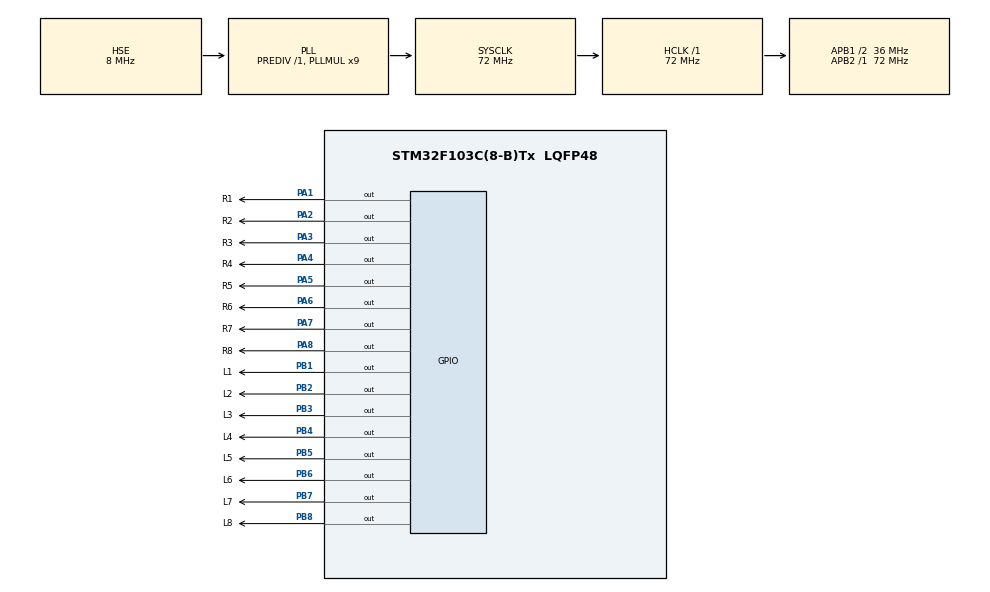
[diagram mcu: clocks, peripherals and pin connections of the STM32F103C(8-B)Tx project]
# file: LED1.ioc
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Mcu.Family=STM32F1
Mcu.Name=STM32F103C(8-B)Tx
Mcu.Package=LQFP48
NVIC.PriorityGroup=NVIC_PRIORITYGROUP_4
PA1.GPIO_Label=R1
PA1.Signal=GPIO_Output
PA2.GPIO_Label=R2
PA2.Signal=GPIO_Output
PA3.GPIO_Label=R3
PA3.Signal=GPIO_Output
PA4.GPIO_Label=R4
PA4.Signal=GPIO_Output
PA5.GPIO_Label=R5
PA5.Signal=GPIO_Output
PA6.GPIO_Label=R6
PA6.Signal=GPIO_Output
PA7.GPIO_Label=R7
PA7.Signal=GPIO_Output
PA8.GPIO_Label=R8
PA8.Signal=GPIO_Output
PB1.GPIO_Label=L1
PB1.Signal=GPIO_Output
PB2.GPIO_Label=L2
PB2.Signal=GPIO_Output
PB3.GPIO_Label=L3
PB3.Signal=GPIO_Output
PB4.GPIO_Label=L4
PB4.Signal=GPIO_Output
PB5.GPIO_Label=L5
PB5.Signal=GPIO_Output
PB6.GPIO_Label=L6
PB6.Signal=GPIO_Output
PB7.GPIO_Label=L7
PB7.Signal=GPIO_Output
PB8.GPIO_Label=L8
PB8.Signal=GPIO_Output
PC14-OSC32_IN.Mode=LSE-External-Oscillator
PC14-OSC32_IN.Signal=RCC_OSC32_IN
PC15-OSC32_OUT.Mode=LSE-External-Oscillator
PC15-OSC32_OUT.Signal=RCC_OSC32_OUT
PD0-OSC_IN.Mode=HSE-External-Oscillator
PD0-OSC_IN.Signal=RCC_OSC_IN
PD1-OSC_OUT.Mode=HSE-External-Oscillator
PD1-OSC_OUT.Signal=RCC_OSC_OUT
ProjectManager.HeapSize=0x200
ProjectManager.StackSize=0x400
ProjectManager.TargetToolchain=MDK-ARM V5.32
RCC.AHBFreq_Value=72000000
RCC.APB1CLKDivider=RCC_HCLK_DIV2
RCC.APB1Freq_Value=36000000
RCC.APB1TimFreq_Value=72000000
RCC.APB2Freq_Value=72000000
RCC.APB2TimFreq_Value=72000000
RCC.HCLKFreq_Value=72000000
RCC.PLLMUL=RCC_PLL_MUL9
RCC.PLLSourceVirtual=RCC_PLLSOURCE_HSE
RCC.SYSCLKFreq_VALUE=72000000
RCC.SYSCLKSource=RCC_SYSCLKSOURCE_PLLCLK
RCC.USBFreq_Value=72000000
VP_SYS_VS_ND.Mode=No_Debug
board=custom

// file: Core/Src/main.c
/* USER CODE BEGIN Header */
/**
  ******************************************************************************
  * @file           : main.c
  * @brief          : Main program body
  ******************************************************************************
  * @attention
  *
  * Copyright (c) 2025 STMicroelectronics.
  * All rights reserved.
  *
  * This software is licensed under terms that can be found in the LICENSE file
  * in the root directory of this software component.
  * If no LICENSE file comes with this software, it is provided AS-IS.
  *
  ******************************************************************************
  */
/* USER CODE END Header */
#include "main.h"
#include "gpio.h"

void SystemClock_Config(void);

/* USER CODE BEGIN 0 */
const uint8_t text_frames[10][8] = {
    {0xC3, 0xC3, 0xC3, 0xC3, 0xC3, 0xC3, 0x7E, 0x00}, // U
    {0x00, 0x00, 0x5C, 0x66, 0x66, 0x66, 0x66, 0x00}, // n
    {0x00, 0x00, 0x3C, 0x66, 0x60, 0x66, 0x3C, 0x00}, // c
    {0x18, 0x18, 0x18, 0x18, 0x18, 0x18, 0x18, 0x00}, // l
    {0x00, 0x00, 0x3C, 0x66, 0x7E, 0x60, 0x3C, 0x00}, // e
    {0x3C, 0x60, 0x60, 0x3C, 0x06, 0x06, 0x3C, 0x00}, // S
    {0x00, 0x00, 0x3C, 0x06, 0x3E, 0x66, 0x3E, 0x00}, // a
    {0x00, 0x00, 0x5C, 0x66, 0x66, 0x66, 0x66, 0x00}, // n
    {0x00, 0x00, 0x3C, 0x06, 0x3E, 0x66, 0x3E, 0x00}, // a
    {0x00, 0x00, 0x3C, 0x66, 0x7E, 0x60, 0x3C, 0x00}  // e
};
/* USER CODE END 0 */

int main(void)
{

  /* MCU Configuration--------------------------------------------------------*/

  /* Reset of all peripherals, Initializes the Flash interface and the Systick. */
  HAL_Init();

  /* Configure the system clock */
  SystemClock_Config();

  /* Initialize all configured peripherals */
  MX_GPIO_Init();
  /* USER CODE BEGIN 2 */
  uint32_t last_switch_time = 0; // 上次切换字母的时间
  int current_char_index = 0;    // 当前显示第几个字母 (0-9)
  HAL_GPIO_WritePin(GPIOA, 0xFFFF,GPIO_PIN_SET);
  HAL_GPIO_WritePin(GPIOA, 0xFFFF,GPIO_PIN_RESET);
  /* USER CODE END 2 */

  /* Infinite loop */
  /* USER CODE BEGIN WHILE */
  while (1)
  {
    // 每隔 800ms 切换一次字母
    if (HAL_GetTick() - last_switch_time > 800)
    {
        last_switch_time = HAL_GetTick(); // 更新时间戳
        current_char_index++;             // 换下一个字母
        //溢出设置
        if (current_char_index >= 10) {
            current_char_index = 0;
        }
    }
    for(int i = 0; i < 8; i++)
    {
      //清空
      HAL_GPIO_WritePin(GPIOA, 0xFFFF,GPIO_PIN_RESET);
      //设置行
      uint16_t row_select = 1 << (i + 1);
      GPIOA->ODR = row_select;
      //当前字母的行数据
      uint8_t row_data = text_frames[current_char_index][i];
      //左移一列
      uint16_t shifted_data = (uint16_t)row_data << 1;
      //设置列数据
      GPIOB->ODR = ~(shifted_data) | 0x0001;
      //视觉暂留
      HAL_Delay(1);
    }
  }
    /* USER CODE END WHILE */

  }

void SystemClock_Config(void)
{
  RCC_OscInitTypeDef RCC_OscInitStruct = {0};
  RCC_ClkInitTypeDef RCC_ClkInitStruct = {0};

  /** Initializes the RCC Oscillators according to the specified parameters
  * in the RCC_OscInitTypeDef structure.
  */
  RCC_OscInitStruct.OscillatorType = RCC_OSCILLATORTYPE_HSE;
  RCC_OscInitStruct.HSEState = RCC_HSE_ON;
  RCC_OscInitStruct.HSEPredivValue = RCC_HSE_PREDIV_DIV1;
  RCC_OscInitStruct.HSIState = RCC_HSI_ON;
  RCC_OscInitStruct.PLL.PLLState = RCC_PLL_ON;
  RCC_OscInitStruct.PLL.PLLSource = RCC_PLLSOURCE_HSE;
  RCC_OscInitStruct.PLL.PLLMUL = RCC_PLL_MUL9;
  if (HAL_RCC_OscConfig(&RCC_OscInitStruct) != HAL_OK)
  {
    Error_Handler();
  }

  /** Initializes the CPU, AHB and APB buses clocks
  */
  RCC_ClkInitStruct.ClockType = RCC_CLOCKTYPE_HCLK|RCC_CLOCKTYPE_SYSCLK
                              |RCC_CLOCKTYPE_PCLK1|RCC_CLOCKTYPE_PCLK2;
  RCC_ClkInitStruct.SYSCLKSource = RCC_SYSCLKSOURCE_PLLCLK;
  RCC_ClkInitStruct.AHBCLKDivider = RCC_SYSCLK_DIV1;
  RCC_ClkInitStruct.APB1CLKDivider = RCC_HCLK_DIV2;
  RCC_ClkInitStruct.APB2CLKDivider = RCC_HCLK_DIV1;

  if (HAL_RCC_ClockConfig(&RCC_ClkInitStruct, FLASH_LATENCY_2) != HAL_OK)
  {
    Error_Handler();
  }
}

void Error_Handler(void)
{
  __disable_irq();
  while (1)
  {
  }
}
